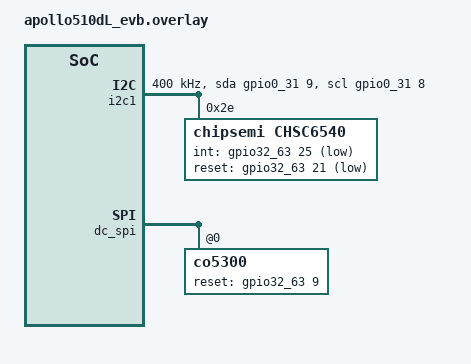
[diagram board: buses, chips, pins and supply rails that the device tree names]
/*
 * Copyright (c) 2025 Ambiq Micro Inc.
 *
 * SPDX-License-Identifier: Apache-2.0
 */
#include <apollo510L/ambiq-apollo510L-pinmux.h>
#include <zephyr/dt-bindings/gpio/gpio.h>
#include <zephyr/dt-bindings/display/panel.h>
#include <zephyr/dt-bindings/i2c/i2c.h>

/*
 * Shield defaults use IOM2 for touch (apollo510_evb P25/P26). On apollo510dL_evb,
 * touch is on IOM1 (connector TOUCH_M1SCL / TOUCH_M1SDA = P8 / P9).
 */
&iom2 {
	/delete-property/ cmdq-buffer-location;
	/delete-property/ cmdq-buffer-size;

	i2c2: i2c {
		status = "disabled";
		/delete-node/ chsc6540@2e;
	};
};

&iom1 {
	cmdq-buffer-location = "SRAM_NO_CACHE";
	cmdq-buffer-size = <256>;

	i2c1: i2c {
		pinctrl-0 = <&i2c1_default>;
		pinctrl-1 = <&i2c1_sleep>;
		pinctrl-names = "default", "sleep";
		clock-frequency = <I2C_BITRATE_FAST>;
		scl-gpios = <&gpio0_31 8 (GPIO_OPEN_DRAIN | GPIO_PULL_UP)>;
		sda-gpios = <&gpio0_31 9 (GPIO_OPEN_DRAIN | GPIO_PULL_UP)>;
		status = "okay";

		chsc6540: chsc6540@2e {
			compatible = "chipsemi,chsc6540";
			reg = <0x2e>;
		};
	};
};

&chsc6540 {
	int-gpios = <&gpio32_63 25 GPIO_ACTIVE_LOW>;
	reset-gpios = <&gpio32_63 21 GPIO_ACTIVE_LOW>;
};

&pinctrl {
	/* QSPI: connector DISP_QSPI P92-P96, TE P80, CS P101 (apollo510dL_evb_connector.dtsi) */
	dc_spi_default: dc_spi_default {
		group1 {
			pinmux = <DISP_TE_P80>,
				 <DISP_QSPI_D0_P92>,
				 <DISP_QSPI_D1_P93>,
				 <DISP_QSPI_SCK_P94>,
				 <DISP_QSPI_D2_P95>,
				 <DISP_QSPI_D3_P96>;
			drive-strength = "0.5";
		};

		/*
		 * P101: use DISP_QSPI_CS_N (pad func 0). On Apollo510 (non-L), CS is only
		 * available via NCE209 + ambiq,nce-src = DC_QSPI_CS_N; Apollo510L also exposes
		 * this dedicated DISP_QSPI_CS_N route on P101 so NCE mux programming is not required.
		 */
		group2 {
			pinmux = <DISP_QSPI_CS_N_P101>;
			drive-strength = "0.5";
		};
	};
};

/*
 * Do not add &mipi_dsi { co5300: ... } here — ap510_disp_spi.overlay already defines
 * label co5300 under &dc_spi; a second co5300 label under MIPI causes a devicetree error.
 */
&dc_spi {
	co5300: co5300@0 {
		reset-gpios = <&gpio32_63 9 GPIO_PULL_UP>;
	};
};

&gpio32_63 {
	status = "okay";
};

&gpio64_95 {
	status = "okay";
};

&gpio96_119 {
	status = "okay";
};
